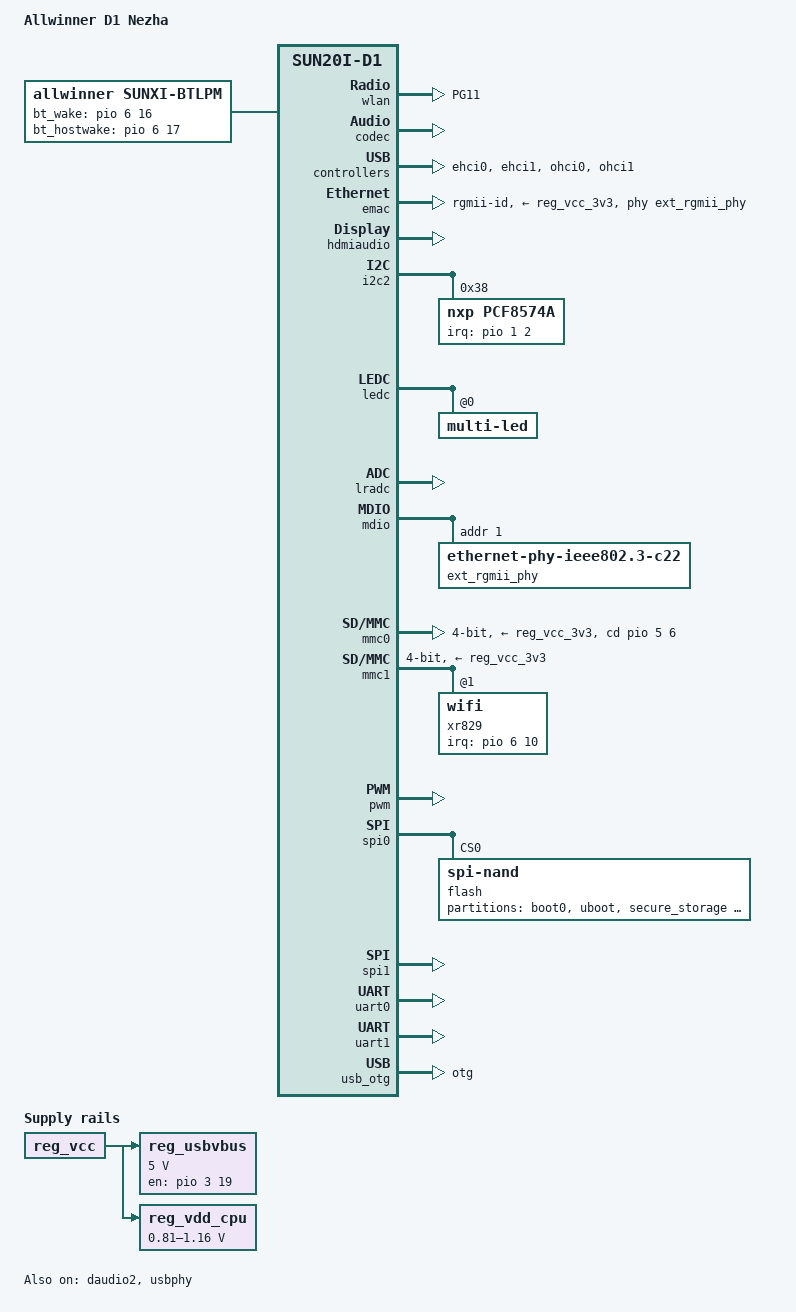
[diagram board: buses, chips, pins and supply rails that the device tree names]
// SPDX-License-Identifier: (GPL-2.0+ OR MIT)
// Copyright (C) 2021-2022 Samuel Holland <samuel@sholland.org>

/*
 * gpio line names
 *
 * The Nezha-D1 has a 40-pin IO header. Some of these pins are routed
 * directly to pads on the SoC, others come from an 8-bit pcf857x IO
 * expander. Therefore, these line names are specified in two places:
 * one set for the pcf857x, and one set for the pio controller.
 *
 * Lines which are routed to the 40-pin header are named as follows:
 *	<pin#> [<pin name>]
 * where:
 *	<pin#>		is the actual pin number of the 40-pin header
 *	<pin name>	is the name of the pin by function/gpio#
 *
 * For details regarding pin numbers and names see the schematics (under
 * "IO EXPAND"):
 * http://dl.linux-sunxi.org/D1/D1_Nezha_development_board_schematic_diagram_20210224.pdf
 */

#include <dt-bindings/gpio/gpio.h>
#include <dt-bindings/input/input.h>
#include <dt-bindings/leds/common.h>

/dts-v1/;

#include "sun20i-d1-bsp.dtsi"
#include "sun20i-d1-bsp-regulators.dtsi"

/ {
	model = "Allwinner D1 Nezha";
	compatible = "allwinner,d1-nezha", "allwinner,sun20i-d1";

	aliases {
		ethernet0 = &emac;
		ethernet1 = &xr829;
		mmc0 = &mmc0;
		serial0 = &uart0;
		spi0 = &spi0;
	};

	chosen {
		stdout-path = "serial0:115200n8";
	};

	reg_usbvbus: usbvbus {
		compatible = "regulator-fixed";
		regulator-name = "usbvbus";
		regulator-min-microvolt = <5000000>;
		regulator-max-microvolt = <5000000>;
		gpio = <&pio 3 19 GPIO_ACTIVE_HIGH>; /* PD19 */
		enable-active-high;
		vin-supply = <&reg_vcc>;
	};

	reg_vdd_cpu: vdd-cpu {
		compatible = "pwm-regulator";
		pwms = <&pwm 0 50000 0>;
		pwm-supply = <&reg_vcc>;
		regulator-name = "vdd-cpu";
		regulator-min-microvolt = <810000>;
		regulator-max-microvolt = <1160000>;
	};

	soc {
		/delete-node/ mixer0;
		/delete-node/ mixer@5100000;
	};

	rfkill: rfkill@0 {
		compatible    = "allwinner,sunxi-rfkill";
		chip_en;
		power_en;
		status        = "okay";

		wlan: wlan@0 {
			compatible    = "allwinner,sunxi-wlan";
			pinctrl-0 = <&wlan_pins_a>;
			pinctrl-names = "default";
			clock-names = "32k-fanout1";
			clocks = <&ccu CLK_FANOUT1>;
			wlan_busnum    = <0x1>;
			wlan_regon    = <&pio 6 12 GPIO_ACTIVE_HIGH>;
			wlan_hostwake  = <&pio 6 10 GPIO_ACTIVE_HIGH>;
			/*wlan_power    = "VCC-3V3";*/
			/*wlan_power_vol = <3300000>;*/
			/*interrupt-parent = <&pio>;
			interrupts = < 6 10 IRQ_TYPE_LEVEL_HIGH>;*/
			wakeup-source;

		};

		bt: bt@0 {
			compatible    = "allwinner,sunxi-bt";
			pinctrl-0 = <&wlan_pins_a>;
			pinctrl-names = "default";
			clock-names = "32k-fanout1";
			clocks = <&ccu CLK_FANOUT1>;
			/*bt_power_num = <0x01>;*/
			/*bt_power      = "axp803-dldo1";*/
			/*bt_io_regulator = "axp803-dldo1";*/
			/*bt_io_vol = <3300000>;*/
			/*bt_power_vol = <330000>;*/
			bt_rst_n      = <&pio 6 18 GPIO_ACTIVE_LOW>;
			status        = "okay";
		};
	};

	btlpm: btlpm@0 {
		compatible  = "allwinner,sunxi-btlpm";
		uart_index  = <0x1>;
		bt_wake     = <&pio 6 16 GPIO_ACTIVE_HIGH>;
		bt_hostwake = <&pio 6 17 GPIO_ACTIVE_HIGH>;
		status      = "okay";
	};

	addr_mgt: addr_mgt@0 {
		compatible     = "allwinner,sunxi-addr_mgt";
		type_addr_wifi = <0x0>;
		type_addr_bt   = <0x0>;
		type_addr_eth  = <0x0>;
		status         = "okay";
	};
};

&codec {
	routing = "Headphone Jack", "HPOUTL",
		  "Headphone Jack", "HPOUTR",
		  "LINEINL", "HPOUTL",
		  "LINEINR", "HPOUTR",
		  "MICIN3", "Headset Microphone",
		  "Headset Microphone", "HBIAS";
	widgets = "Microphone", "Headset Microphone",
		  "Headphone", "Headphone Jack";
	status = "okay";
};

&cpu0 {
	cpu-supply = <&reg_vdd_cpu>;
};

&dcxo {
	clock-frequency = <24000000>;
};

&ehci0 {
	status = "okay";
};

&ehci1 {
	status = "okay";
};

&emac {
	pinctrl-0 = <&rgmii_pe_pins>;
	pinctrl-names = "default";
	phy-handle = <&ext_rgmii_phy>;
	phy-mode = "rgmii-id";
	phy-supply = <&reg_vcc_3v3>;
	status = "okay";
};

&daudio2 {
	mclk_div 	= <0x00>;
	frametype 	= <0x00>;
	tdm_config 	= <0x01>;
	sign_extend 	= <0x00>;
	tx_data_mode 	= <0x00>;
	rx_data_mode 	= <0x00>;
	msb_lsb_first 	= <0x00>;
	pcm_lrck_period = <0x20>;
	slot_width_select = <0x20>;
	asrc_function_en  = <0x00>;
	pinctrl-names   = "default", "sleep";
	/*pinctrl-0       = <&daudio2_pins_a &daudio2_pins_b &daudio2_pins_c>;*/
	/*pinctrl-1       = <&daudio2_pins_d>;*/
	/* HDMI audio, no need pin */
	pinctrl-0;
	pinctrl-1;
	pinctrl_used	= <0x0>;
	daudio_type	= <0x1>;
	status = "okay";
};

&hdmiaudio {
	status = "okay";
};

&sounddaudio2 {
	status = "okay";
	simple-audio-card,name = "sndhdmi";
	daudio2_master: simple-audio-card,codec {
		sound-dai = <&hdmiaudio>;
	};
};

&disp {
	disp_init_enable         = <1>;
	disp_mode                = <0>;

	screen0_output_type      = <3>;
	screen0_output_mode      = <10>;

	screen1_output_type      = <1>;
	screen1_output_mode      = <4>;

	screen1_output_format    = <0>;
	screen1_output_bits      = <0>;
	screen1_output_eotf      = <4>;
	screen1_output_cs        = <257>;
	screen1_output_dvi_hdmi  = <2>;
	screen1_output_range     = <2>;
	screen1_output_scan      = <0>;
	screen1_output_aspect_ratio = <8>;

	dev0_output_type         = <4>;
	dev0_output_mode         = <10>;
	dev0_screen_id           = <0>;
	dev0_do_hpd              = <1>;

	dev1_output_type         = <1>;
	dev1_output_mode         = <4>;
	dev1_screen_id           = <1>;
	dev1_do_hpd              = <0>;

	def_output_dev           = <0>;
	hdmi_mode_check          = <1>;

	fb0_format               = <0>;
	fb0_width                = <1920>;
	fb0_height               = <1080>;

	fb1_format               = <0>;
	fb1_width                = <1920>;
	fb1_height               = <1080>;
	chn_cfg_mode             = <1>;

	disp_para_zone           = <1>;
	/*VCC-LCD*/
/*	dc1sw-supply = <&reg_dc1sw>;*/
	/*VCC-DSI*/
/*	eldo3-supply = <&reg_eldo3>;*/
	/*VCC-PD*/
/*	dcdc1-supply = <&reg_dcdc1>;*/

	pwms = <&pwm 2 1000 0>;
};

/*----------------------------------------------------------------------------------
;lcd0 configuration

;lcd_if:               0:hv(sync+de); 1:8080; 2:ttl; 3:lvds; 4:dsi; 5:edp; 6:extend dsi
;lcd_hv_if             0:Parallel RGB; 8:Serial RGB; 10:Dummy RGB; 11: RGB Dummy;12:CCIR656
;lcd_hv_clk_phase      0:0 degree;1:90 degree;2:180 degree;3:270 degree
;lcd_hv_sync_polarity  0:vs low,hs low; 1:vs high,hslow; 2:vs low,hs high; 3:vs high,hs high
;lcd_hv_syuv_seq       0:YUYV; 1:YVYU; 2:UYVY; 3:VYUY
;lcd_cpu_if            0:18bit/1 cycle parallel(RGB666); 4:16bit/1cycle parallel (RGB565)
;                      6:18bit/3 cycle parallel(RGB666); 7:16bit/2cycle parallel (RGB565)
;lcd_cpu_te            0:frame auto trigger; 1:frame triggered by te rising edge; 2:frame triggered by te falling edge;
;lcd_dsi_if            0:video mode; 1: Command mode; 2:video burst mode
;lcd_dsi_te            0:frame auto trigger; 1:frame triggered by te rising edge; 2:frame triggered by te falling edge;
;lcd_x:                lcd horizontal resolution
;lcd_y:                lcd vertical resolution
;lcd_width:            width of lcd in mm
;lcd_height:           height of lcd in mm
;lcd_dclk_freq:        in MHZ unit
;lcd_pwm_freq:         in HZ unit
;lcd_pwm_pol:          lcd backlight PWM polarity
;lcd_pwm_max_limit     lcd backlight PWM max limit(<=255)
;lcd_hbp:              hsync back porch(pixel) + hsync plus width(pixel);
;lcd_ht:               hsync total cycle(pixel)
;lcd_vbp:              vsync back porch(line) + vysnc plus width(line)
;lcd_vt:               vysnc total cycle(line)
;lcd_hspw:             hsync plus width(pixel)
;lcd_vspw:             vysnc plus width(pixel)
;lcd_lvds_if:          0:single link;  1:dual link
;lcd_lvds_colordepth:  0:8bit; 1:6bit
;lcd_lvds_mode:        0:NS mode; 1:JEIDA mode
;lcd_frm:              0:disable; 1:enable rgb666 dither; 2:enable rgb656 dither
;lcd_io_phase:         0:noraml; 1:intert phase(0~3bit: vsync phase; 4~7bit:hsync phase;
;                      8~11bit:dclk phase; 12~15bit:de phase)
;lcd_gamma_en          lcd gamma correction enable
;lcd_bright_curve_en   lcd bright curve correction enable
;lcd_cmap_en           lcd color map function enable
;deu_mode              0:smoll lcd screen; 1:large lcd screen(larger than 10inch)
;lcdgamma4iep:         Smart Backlight parameter, lcd gamma vale * 10;
;                      decrease it while lcd is not bright enough; increase while lcd is too bright
;smart_color           90:normal lcd screen 65:retina lcd screen(9.7inch)
;Pin setting for special function ie.LVDS, RGB data or vsync
;   name(donot care) = port:PD12<pin function><pull up or pull down><drive ability><output level>
;Pin setting for gpio:
;   lcd_gpio_X     = port:PD12<pin function><pull up or pull down><drive ability><output level>
;Pin setting for backlight enable pin
;   lcd_bl_en     = port:PD12<pin function><pull up or pull down><drive ability><output level>
;fsync setting, pulse to csi
;lcd_fsync_en          (0:disable fsync,1:enable)
;lcd_fsync_act_time    (active time of fsync, unit:pixel)
;lcd_fsync_dis_time    (disactive time of fsync, unit:pixel)
;lcd_fsync_pol         (0:positive;1:negative)
;gpio config: <&pio for cpu or &r_pio for cpus, port, port num, pio function,
pull up or pull down(default 0), driver level(default 1), data>
;For dual link lvds: use lvds2link_pins_a  and lvds2link_pins_b instead
;For rgb24: use rgb24_pins_a  and rgb24_pins_b instead
;For lvds1: use lvds1_pins_a  and lvds1_pins_b instead
;For lvds0: use lvds0_pins_a  and lvds0_pins_b instead
;----------------------------------------------------------------------------------*/
&lcd0 {
	lcd_used            = <1>;

	lcd_driver_name     = "tft08006";
	lcd_backlight       = <100>;
	lcd_if              = <4>;

	lcd_x               = <800>;
	lcd_y               = <1280>;
	lcd_width           = <52>;
	lcd_height          = <52>;
	lcd_dclk_freq       = <70>;

	lcd_pwm_used        = <1>;
	lcd_pwm_ch          = <2>;
	lcd_pwm_freq        = <1000>;
	lcd_pwm_pol         = <0>;
	lcd_pwm_max_limit   = <255>;

	lcd_hbp             = <32>;
	lcd_ht              = <868>;
	lcd_hspw            = <4>;
	lcd_vbp             = <12>;
	lcd_vt              = <1311>;
	lcd_vspw            = <4>;

	lcd_dsi_if          = <0>;
	lcd_dsi_lane        = <4>;
	lcd_lvds_if         = <0>;
	lcd_lvds_colordepth = <0>;
	lcd_lvds_mode       = <0>;
	lcd_frm             = <0>;
	lcd_hv_clk_phase    = <0>;
	lcd_hv_sync_polarity= <0>;
	lcd_io_phase        = <0x0000>;
	lcd_gamma_en        = <0>;
	lcd_bright_curve_en = <0>;
	lcd_cmap_en         = <0>;
	lcd_fsync_en        = <0>;
	lcd_fsync_act_time  = <1000>;
	lcd_fsync_dis_time  = <1000>;
	lcd_fsync_pol       = <0>;

	deu_mode            = <0>;
	lcdgamma4iep        = <22>;
	smart_color         = <90>;

	lcd_gpio_0 =  <&pio 6 13 GPIO_ACTIVE_HIGH>;
	pinctrl-0 = <&dsi_4lane_pins>;
	pinctrl-1 = <&dsi_4lane_sleep_pins>;
};

&hdmi {
	hdmi_used = <1>;
	hdmi_power_cnt = <0>;
	hdmi_cts_compatibility = <1>;
	hdmi_hdcp_enable = <1>;
	hdmi_hdcp22_enable = <0>;
	hdmi_cec_support = <1>;
	hdmi_cec_super_standby = <0>;

	ddc_en_io_ctrl = <0>;
	power_io_ctrl = <0>;
};

&i2c2 {
	pinctrl-0 = <&i2c2_pb0_pins>;
	pinctrl-names = "default";
	status = "okay";

	pcf8574a: gpio@38 {
		compatible = "nxp,pcf8574a";
		reg = <0x38>;
		interrupt-parent = <&pio>;
		interrupts = <1 2 IRQ_TYPE_LEVEL_LOW>; /* PB2 */
		interrupt-controller;
		gpio-controller;
		#gpio-cells = <2>;
		#interrupt-cells = <2>;
		gpio-line-names =
			"pin13 [gpio8]",
			"pin16 [gpio10]",
			"pin18 [gpio11]",
			"pin26 [gpio17]",
			"pin22 [gpio14]",
			"pin28 [gpio19]",
			"pin37 [gpio23]",
			"pin11 [gpio6]";
	};
};

&ledc {
	pinctrl-0 = <&ledc_pc0_pin>;
	pinctrl-names = "default";
	status = "okay";

	multi-led@0 {
		reg = <0x0>;
		color = <LED_COLOR_ID_RGB>;
		function = LED_FUNCTION_STATUS;
		allwinner,multi_intensity = <0 255 0>;
		linux,default-trigger = "mmc0";
	};
};

&lradc {
	status = "okay";

	button-160 {
		label = "OK";
		linux,code = <KEY_OK>;
		channel = <0>;
		voltage = <160000>;
	};
};

&mdio {
	ext_rgmii_phy: ethernet-phy@1 {
		compatible = "ethernet-phy-ieee802.3-c22";
		reg = <1>;
	};
};

&mmc0 {
	bus-width = <4>;
	cd-gpios = <&pio 5 6 GPIO_ACTIVE_HIGH>; /* PF6 */
	disable-wp;
	vmmc-supply = <&reg_vcc_3v3>;
	vqmmc-supply = <&reg_vcc_3v3>;
	pinctrl-0 = <&mmc0_pins>;
	pinctrl-names = "default";
	status = "okay";
};

&mmc1 {
	bus-width = <4>;
	no-sd;
	cap-sdio-irq;
	keep-power-in-suspend;
	ignore-pm-notify;
	ctl-spec-caps = <0x8>;

	sunxi-dly-52M-ddr4  = <1 0 0 0 2>;
	sunxi-dly-104M  = <1 0 0 0 1>;
	sunxi-dly-208M  = <1 0 0 0 1>;

/*
	non-removable;
*/
	vmmc-supply = <&reg_vcc_3v3>;
	vqmmc-supply = <&reg_vcc_3v3>;

	pinctrl-0 = <&mmc1_pins>;
	pinctrl-1 = <&sdc1_pins_b>;
	pinctrl-names = "default","sleep";
	status = "okay";

	xr829: wifi@1 {
		reg = <1>;
		interrupt-parent = <&pio>;
		interrupts = <6 10 IRQ_TYPE_LEVEL_LOW>; /* PG10 */
		interrupt-names = "host-wake";
	};
};

&ohci0 {
	status = "okay";
};

&ohci1 {
	status = "okay";
};

&pio {
	sdc1_pins_a: sdc1@0 {
		pins = "PG0", "PG1", "PG2",
		       "PG3", "PG4", "PG5";
		function = "mmc1";
		drive-strength = <30>;
		bias-pull-up;
	};

	sdc1_pins_b: sdc1@1 {
		pins = "PG0", "PG1", "PG2",
		       "PG3", "PG4", "PG5";
			function = "gpio_in";
	};

	wlan_pins_a:wlan@0 {
		pins = "PG11";
		function = "clk";
	};
};

&pwm {
	pinctrl-0 = <&pwm0_pd16_pin>;
	pinctrl-names = "default";
	status = "okay";
};

&spi0 {
	pinctrl-0 = <&spi0_pins>;
	pinctrl-names = "default";
	status = "okay";

	flash@0 {
		compatible = "spi-nand";
		reg = <0>;

		partitions {
			compatible = "fixed-partitions";
			#address-cells = <1>;
			#size-cells = <1>;

			partition@0 {
				label = "boot0";
				reg = <0x00000000 0x00100000>;
			};

			partition@100000 {
				label = "uboot";
				reg = <0x00100000 0x00300000>;
			};

			partition@400000 {
				label = "secure_storage";
				reg = <0x00400000 0x00100000>;
			};

			partition@500000 {
				label = "sys";
				reg = <0x00500000 0x0fb00000>;
			};
		};
	};
};

&spi1 {
	pinctrl-0 = <&spi1_pd_pins>;
	pinctrl-names = "default";
	status = "okay";
};

&uart0 {
	pinctrl-0 = <&uart0_pb8_pins>;
	pinctrl-names = "default";
	status = "okay";
};

&uart1 {
	uart-has-rtscts;
	pinctrl-0 = <&uart1_pg6_pins>, <&uart1_pg8_rts_cts_pins>;
	pinctrl-names = "default";
	status = "okay";

	/* XR829 bluetooth is connected here */
};

&usb_otg {
	dr_mode = "otg";
	status = "okay";
};

&usbphy {
	usb0_id_det-gpios = <&pio 3 21 GPIO_ACTIVE_HIGH>; /* PD21 */
	usb0_vbus_det-gpios = <&pio 3 20 GPIO_ACTIVE_HIGH>; /* PD20 */
	usb0_vbus-supply = <&reg_usbvbus>;
	usb1_vbus-supply = <&reg_vcc>;
	status = "okay";
};

&pio {
	gpio-line-names =
		/* Port A */
		"", "", "", "", "", "", "", "",
		"", "", "", "", "", "", "", "",
		"", "", "", "", "", "", "", "",
		"", "", "", "", "", "", "", "",
		/* Port B */
		"pin5 [gpio2/twi2-sck]",
		"pin3 [gpio1/twi2-sda]",
		"",
		"pin38 [gpio24/i2s2-din]",
		"pin40 [gpio25/i2s2-dout]",
		"pin12 [gpio7/i2s-clk]",
		"pin35 [gpio22/i2s2-lrck]",
		"",
		"pin8 [gpio4/uart0-txd]",
		"pin10 [gpio5/uart0-rxd]",
		"",
		"",
		"pin15 [gpio9]",
		"", "", "", "",
		"", "", "", "", "", "", "", "",
		"", "", "", "", "", "", "", "",
		/* Port C */
		"",
		"pin31 [gpio21]",
		"", "", "", "", "", "",
		"", "", "", "", "", "", "", "",
		"", "", "", "", "", "", "", "",
		"", "", "", "", "", "", "", "",
		/* Port D */
		"", "", "", "", "", "", "", "",
		"", "",
		"pin24 [gpio16/spi1-ce0]",
		"pin23 [gpio15/spi1-clk]",
		"pin19 [gpio12/spi1-mosi]",
		"pin21 [gpio13/spi1-miso]",
		"pin27 [gpio18/spi1-hold]",
		"pin29 [gpio20/spi1-wp]",
		"", "", "", "", "", "",
		"pin7 [gpio3/pwm]";
};
